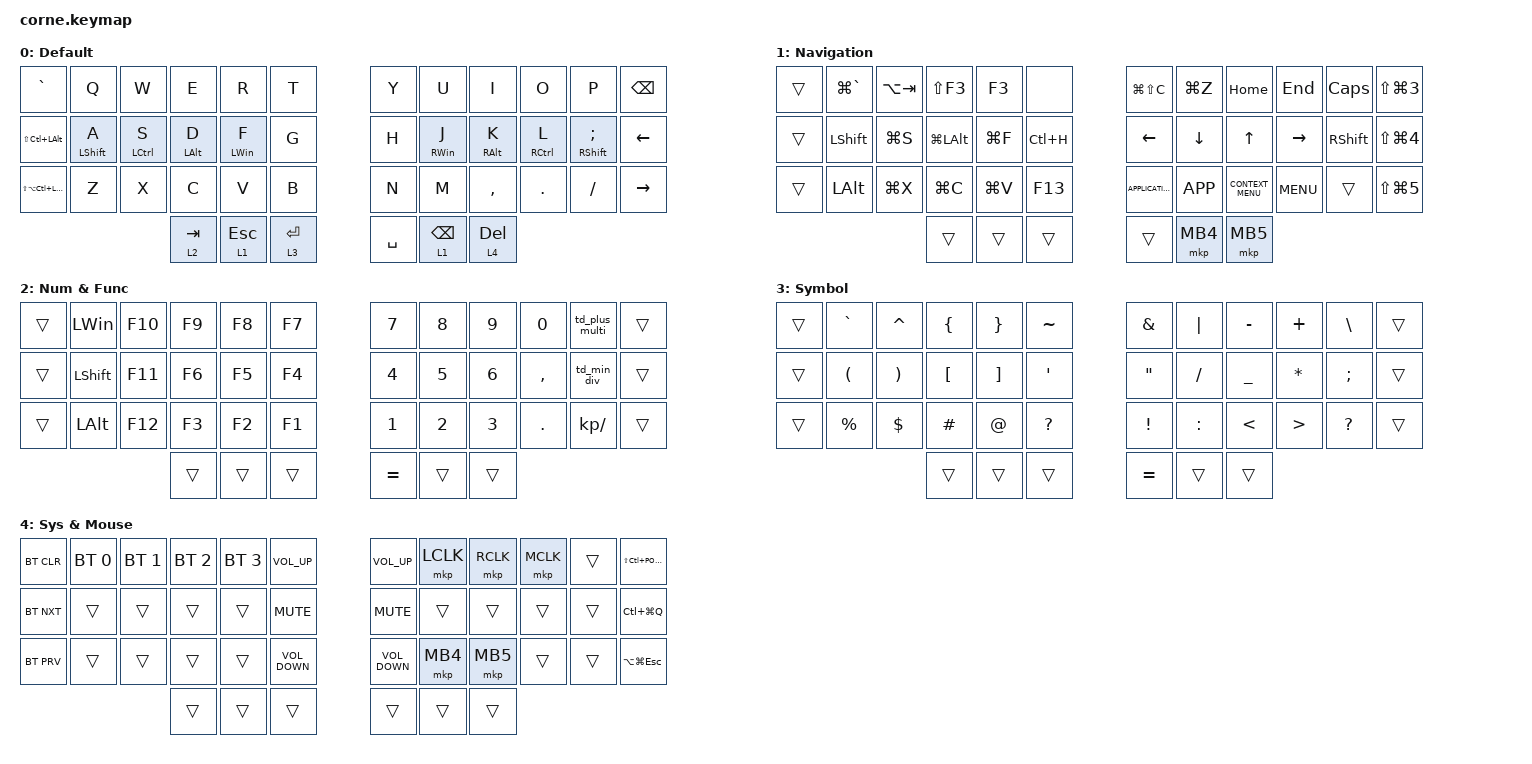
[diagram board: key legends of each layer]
/*
 * Copyright (c) 2020 The ZMK Contributors
 *
 * SPDX-License-Identifier: MIT
 */

#include <behaviors.dtsi>
#include <dt-bindings/zmk/bt.h>
#include <dt-bindings/zmk/keys.h>
#include <dt-bindings/zmk/mouse.h>

&lt {
    quick-tap-ms = <200>;
    require-prior-idle-ms = <100>;
};

/ {
    behaviors {
        hm: homerow_mods {
            compatible = "zmk,behavior-hold-tap";
            label = "HOMEROW_MODS";
            #binding-cells = <2>;
            tapping-term-ms = <200>;
            quick-tap-ms = <200>;
            flavor = "balanced";
            bindings = <&kp>, <&kp>;

            require-prior-idle-ms = <125>;
        };

        td_ls_caps: tap_dance_caps {
            compatible = "zmk,behavior-tap-dance";
            label = "Tap Dance Capslock";
            #binding-cells = <0>;
            bindings = <&kp LSHFT>, <&kp CAPS>;

            tapping-term-ms = <200>;
        };

        td_plus_multi: td_plus_multi {
            compatible = "zmk,behavior-tap-dance";
            label = "TD_PLUS_MULTI";
            #binding-cells = <0>;
            bindings = <&kp PLUS>, <&kp ASTERISK>;

            tapping-term-ms = <200>;
        };

        td_min_div: td_min_div {
            compatible = "zmk,behavior-tap-dance";
            label = "TD_MIN_DIV";
            #binding-cells = <0>;
            bindings = <&kp KP_SUBTRACT>, <&kp KP_DIVIDE>;

            tapping-term-ms = <200>;
        };
    };

    keymap {
        compatible = "zmk,keymap";

        default {
            // -----------------------------------------------------------------------------------------
            // |  TAB |  Q  |  W  |  E  |  R  |  T  |   |  Y  |  U   |  I  |  O  |  P  | BKSP |
            // | CTRL |  A  |  S  |  D  |  F  |  G  |   |  H  |  J   |  K  |  L  |  ;  |  '   |
            // | SHFT |  Z  |  X  |  C  |  V  |  B  |   |  N  |  M   |  ,  |  .  |  /  | ESC  |
            //                    | GUI | LWR | SPC |   | ENT | RSE  | ALT |

            bindings = <
&kp GRAVE             &kp Q         &kp W               &kp E           &kp R           &kp T          &kp Y      &kp U            &kp I         &kp O        &kp P                &kp BSPC
&kp LS(LC(LEFT_ALT))  &hm LSHIFT A  &hm LEFT_CONTROL S  &hm LEFT_ALT D  &hm LEFT_WIN F  &kp G          &kp H      &hm RWIN J       &hm RALT K    &hm RCTRL L  &hm RSHFT SEMICOLON  &kp LEFT
&kp LS(LA(LC(LGUI)))  &kp Z         &kp X               &kp C           &kp V           &kp B          &kp N      &kp M            &kp COMMA     &kp DOT      &kp FSLH             &kp RIGHT
                                                        &lt 2 TAB       &lt 1 ESC       &lt 3 ENTER    &kp SPACE  &lt 1 BACKSPACE  &lt 4 DELETE
            >;

            label = "Default";
        };

        navigation {
            // -----------------------------------------------------------------------------------------
            // |  TAB |  1  |  2  |  3  |  4  |  5  |   |  6  |  7  |  8  |  9  |  0  | BKSP |
            // | BTCLR| BT1 | BT2 | BT3 | BT4 | BT5 |   | LFT | DWN |  UP | RGT |     |      |
            // | SHFT |     |     |     |     |     |   |     |     |     |     |     |      |
            //                    | GUI |     | SPC |   | ENT |     | ALT |

            bindings = <
&trans  &kp LG(GRAVE)   &kp LA(TAB)  &kp LS(F3)        &kp F3     &none        &kp LG(LS(C))      &kp LG(Z)  &kp HOME            &kp END     &kp CAPSLOCK  &kp LS(LG(NUMBER_3))
&trans  &kp LEFT_SHIFT  &kp LG(S)    &kp LG(LEFT_ALT)  &kp LG(F)  &kp LC(H)    &kp LEFT           &kp DOWN   &kp UP              &kp RIGHT   &kp RSHIFT    &kp LS(LG(NUMBER_4))
&trans  &kp LEFT_ALT    &kp LG(X)    &kp LG(C)         &kp LG(V)  &kp F13      &kp K_APPLICATION  &kp K_APP  &kp K_CONTEXT_MENU  &kp K_MENU  &trans        &kp LS(LG(NUMBER_5))
                                     &trans            &trans     &trans       &trans             &mkp MB4   &mkp MB5
            >;

            label = "Navigation";
        };

        numandfunc {
            // -----------------------------------------------------------------------------------------
            // |  TAB |  !  |  @  |  #  |  $  |  %  |   |  ^  |  &  |  *  |  (  |  )  | BKSP |
            // | CTRL |     |     |     |     |     |   |  -  |  =  |  [  |  ]  |  \  |  `   |
            // | SHFT |     |     |     |     |     |   |  _  |  +  |  {  |  }  | "|" |  ~   |
            //                    | GUI |     | SPC |   | ENT |     | ALT |

            bindings = <
&trans  &kp LWIN      &kp F10  &kp F9  &kp F8  &kp F7    &kp N7        &kp N8        &kp N9        &kp N0     &td_plus_multi  &trans
&trans  &kp LSHFT     &kp F11  &kp F6  &kp F5  &kp F4    &kp N4        &kp N5        &kp NUMBER_6  &kp COMMA  &td_min_div     &trans
&trans  &kp LEFT_ALT  &kp F12  &kp F3  &kp F2  &kp F1    &kp NUMBER_1  &kp NUMBER_2  &kp N3        &kp DOT    &kp KP_DIVIDE   &trans
                               &trans  &trans  &trans    &kp EQUAL     &trans        &trans
            >;

            label = "Num & Func";
        };

        symbol {
            bindings = <
&trans  &kp GRAVE             &kp CARET              &kp LEFT_BRACE    &kp RIGHT_BRACE    &kp TILDE           &kp AMPS           &kp PIPE   &kp MINUS      &kp PLUS          &kp BACKSLASH  &trans
&trans  &kp LEFT_PARENTHESIS  &kp RIGHT_PARENTHESIS  &kp LEFT_BRACKET  &kp RIGHT_BRACKET  &kp SINGLE_QUOTE    &kp DOUBLE_QUOTES  &kp SLASH  &kp UNDER      &kp ASTERISK      &kp SEMICOLON  &trans
&trans  &kp PERCENT           &kp DOLLAR             &kp HASH          &kp AT_SIGN        &kp QUESTION        &kp EXCLAMATION    &kp COLON  &kp LESS_THAN  &kp GREATER_THAN  &kp QUESTION   &trans
                                                     &trans            &trans             &trans              &kp EQUAL          &trans     &trans
            >;

            label = "Symbol";
        };

        systemAndMouse {
            bindings = <
&bt BT_CLR  &bt BT_SEL 0  &bt BT_SEL 1  &bt BT_SEL 2  &bt BT_SEL 3  &kp C_VOLUME_UP      &kp C_VOLUME_UP    &mkp LCLK  &mkp RCLK  &mkp MCLK  &trans  &kp LS(LC(C_POWER))
&bt BT_NXT  &trans        &trans        &trans        &trans        &kp K_MUTE           &kp K_MUTE         &trans     &trans     &trans     &trans  &kp LC(LG(Q))
&bt BT_PRV  &trans        &trans        &trans        &trans        &kp C_VOLUME_DOWN    &kp C_VOLUME_DOWN  &mkp MB4   &mkp MB5   &trans     &trans  &kp LA(LG(ESCAPE))
                                        &trans        &trans        &trans               &trans             &trans     &trans
            >;

            label = "Sys & Mouse";
        };
    };
};
